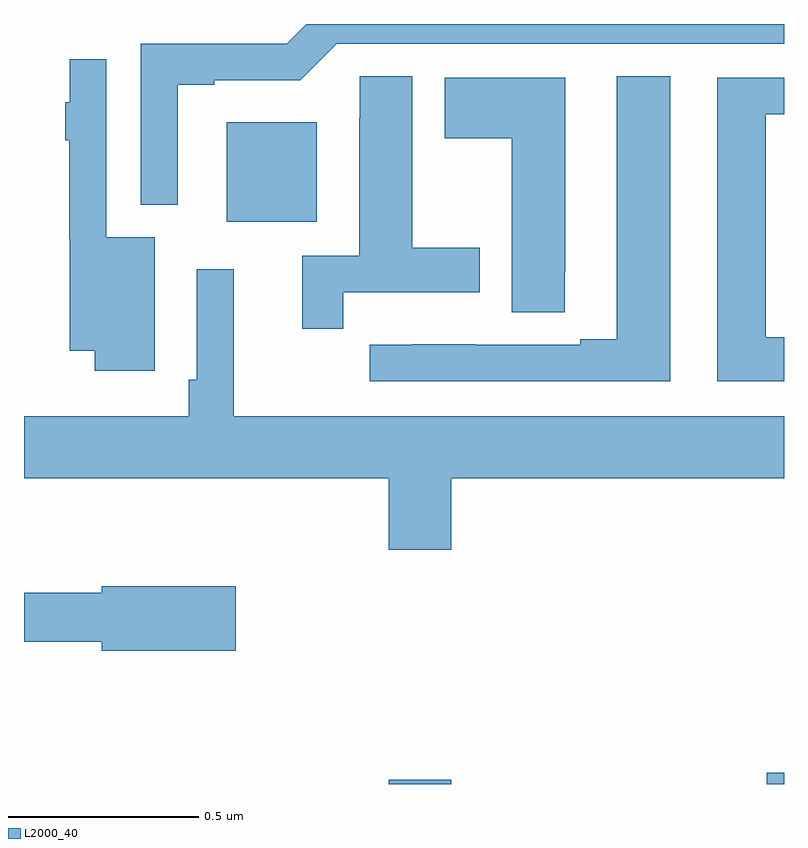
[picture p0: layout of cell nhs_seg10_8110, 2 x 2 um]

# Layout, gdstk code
import gdstk
lib = gdstk.Library(unit=1e-6, precision=1e-09)
def R(c, l, rs):  # rectangles x0, y0, x1, y1
    for r in rs: c.add(gdstk.rectangle(r[:2], r[2:], *l))
def P(c, l, *ps):  # polygons
    for p in ps: c.add(gdstk.Polygon(p, *l))
L2000_40 = (2000, 40)

nhs_seg10_8110 = lib.new_cell('nhs_seg10_8110')
R(nhs_seg10_8110, L2000_40, [(212.96,1311.5,213.124,1311.511), (213.954,1311.5,214,1311.53), (212.534,1312.979,212.77,1313.242)])
P(nhs_seg10_8110, L2000_40, [(212.404,1313.34),(212.5,1313.34),(212.5,1313.352),(212.727,1313.352),(212.823,1313.448),(214,1313.448),(214,1313.5),(212.743,1313.5),(212.691,1313.448),(212.307,1313.448),(212.307,1313.024),(212.404,1313.024)],
  [(212.344,1312.939),(212.217,1312.939),(212.217,1313.407),(212.12,1313.407),(212.12,1313.294),(212.109,1313.294),(212.109,1313.194),(212.119,1313.194),(212.119,1312.935),(212.12,1312.935),(212.12,1312.64),(212.186,1312.64),(212.186,1312.587),(212.344,1312.587)],
  [(213.7,1313.363),(213.56,1313.363),(213.56,1312.671),(213.464,1312.671),(213.464,1312.656),(213.188,1312.656),(213.188,1312.657),(213.022,1312.657),(213.022,1312.656),(212.91,1312.656),(212.91,1312.56),(213.7,1312.56)],
  [(212.84,1312.794),(213.199,1312.794),(213.199,1312.911),(213.022,1312.911),(213.022,1313.363),(212.883,1313.363),(212.883,1313.252),(212.882,1313.252),(212.882,1312.89),(212.732,1312.89),(212.732,1312.698),(212.84,1312.698)],
  [(213.423,1312.849),(213.424,1312.849),(213.424,1313.359),(213.107,1313.359),(213.107,1313.2),(213.284,1313.2),(213.284,1312.741),(213.423,1312.741)],
  [(214,1312.676),(213.952,1312.676),(213.952,1313.262),(214,1313.262),(214,1313.358),(213.824,1313.358),(213.824,1312.56),(214,1312.56)],
  [(213.124,1312.304),(214,1312.304),(214,1312.468),(212.552,1312.468),(212.552,1312.855),(212.454,1312.855),(212.454,1312.564),(212.434,1312.564),(212.434,1312.468),(212,1312.468),(212,1312.304),(212.96,1312.304),(212.96,1312.116),(213.124,1312.116)],
  [(212.557,1312.021),(212.204,1312.021),(212.204,1312.003),(212,1312.003),(212,1311.874),(212.204,1311.874),(212.204,1311.851),(212.557,1311.851)])

lib.write_gds('nhs_seg10_8110.gds')
